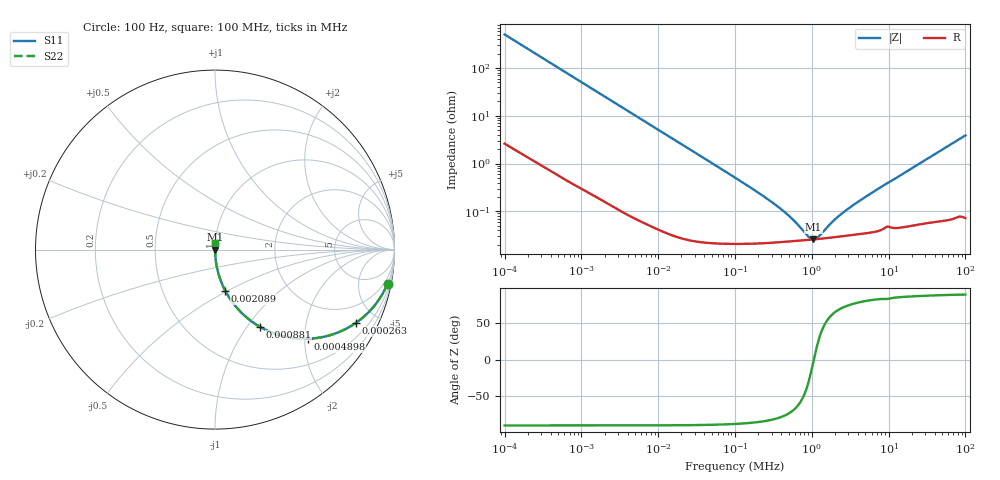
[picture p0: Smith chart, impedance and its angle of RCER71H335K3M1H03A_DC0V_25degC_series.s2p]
!Murata Part Number: RCER71H335K3M1H03A
!These Parameters are Measured in Series Mode Connection
!  o--ll--o
!Port1  Port2
!  o------o
!Operation Temp=25[degC], DC Bias Voltage=0[V]
!Freq. Start=100[Hz] Stop=100[MHz], 401[Steps]
!Data Generated on Jun 23, 2023
# Hz S RI R 50
!Freq.(Hz) S11(Real) S11(Imag) S21(Real) S21(Imag) S12(Real) S12(Imag) S22(Real) S22(Imag)
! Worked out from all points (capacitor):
!   401 points, 100 Hz to 100 MHz, reference 50 ohm
!   read as one part in series: C = 3.16 uF near 107.2 Hz
!   lowest |Z| = 25.8 mohm at 1.047 MHz (marker M1)
!   series resonance near 1.063 MHz, so ESL is about 7.1 nH
!   S11 on the Smith chart (normalised r, x): 100 Hz: 1, -10; 263 Hz: 1.02, -3.84; 489.8 Hz: 1.01, -2.07; 881 Hz: 1.01, -1.15; 2.089 kHz: 1.00, -0.49; 100 MHz: 1.00, +0.08
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100  0.9611 -0.1908  0.0389 0.1908  0.0389 0.1908  0.9611 -0.1908
167.8804  0.8989 -0.2989  0.1011 0.2989  0.1011 0.2989  0.8989 -0.2989
263.0268  0.7852 -0.408  0.2148 0.408  0.2148 0.408  0.7852 -0.408
489.7788  0.5161 -0.497  0.4839 0.497  0.4839 0.497  0.5161 -0.497
645.6542  0.3815 -0.483  0.6185 0.483  0.6185 0.483  0.3815 -0.483
881.0489  0.2499 -0.4301  0.7501 0.4301  0.7501 0.4301  0.2499 -0.4301
1011.579  0.2022 -0.3988  0.7978 0.3988  0.7978 0.3988  0.2022 -0.3988
1428.894  0.1136 -0.3143  0.8864 0.3143  0.8864 0.3143  0.1136 -0.3143
2089.296  0.0572 -0.2291  0.9428 0.2291  0.9428 0.2291  0.0572 -0.2291
4315.191  0.0145 -0.1163  0.9855 0.1163  0.9855 0.1163  0.0145 -0.1163
10232.93  0.00289 -0.0498  0.9971 0.0498  0.9971 0.0498  0.00289 -0.0498
100000  0.000233 -0.00507  0.9998 0.00507  0.9998 0.00507  0.000233 -0.00507
384591.8  0.000227 -0.00114  0.9998 0.00114  0.9998 0.00114  0.000227 -0.00114
582103.2  0.000238 -0.0006  0.9998 0.0006  0.9998 0.0006  0.000238 -0.0006
881048.9  0.000251 -0.000175  0.9997 0.000175  0.9997 0.000175  0.000251 -0.000175
1011579  0.000256 -4.57e-05  0.9997 4.57e-05  0.9997 4.57e-05  0.000256 -4.57e-05
1047129  0.000257 -1.37e-05  0.9997 1.37e-05  0.9997 1.37e-05  0.000257 -1.37e-05
1202264  0.000263 0.000114  0.9997 -0.000114  0.9997 -0.000114  0.000263 0.000114
1883649  0.000284 0.000548  0.9997 -0.000548  0.9997 -0.000548  0.000284 0.000548
2851018  0.000309 0.00103  0.9997 -0.00103  0.9997 -0.00103  0.000309 0.00103
1.023293e7  0.000488 0.00404  0.9995 -0.00404  0.9995 -0.00404  0.000488 0.00404
1e8  0.00222 0.0387  0.9978 -0.0387  0.9978 -0.0387  0.00222 0.0387
